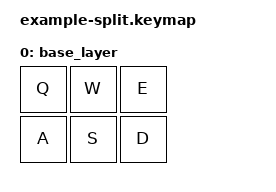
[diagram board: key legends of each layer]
#define BASE 0

/ {
    keymap {
        compatible = "zmk,keymap";

        base_layer {
            bindings = <
                &kp Q    &kp W    &kp E
                &kp A    &kp S    &kp D
            >;
        };
    };
};
